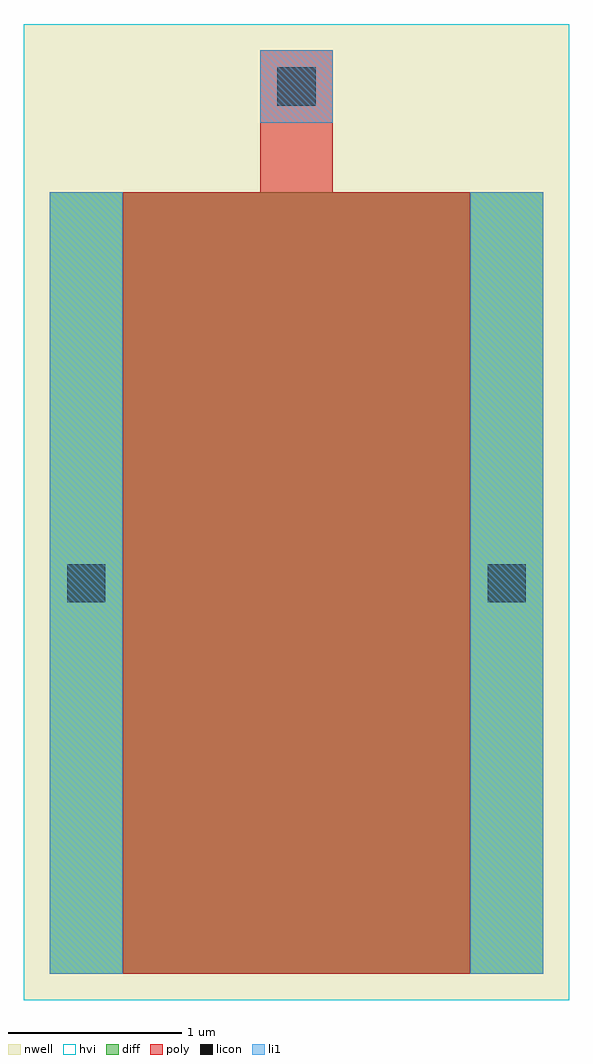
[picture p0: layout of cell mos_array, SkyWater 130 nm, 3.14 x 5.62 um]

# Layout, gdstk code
import gdstk
lib = gdstk.Library(unit=1e-6, precision=1e-09)
def R(c, l, rs):  # rectangles x0, y0, x1, y1
    for r in rs: c.add(gdstk.rectangle(r[:2], r[2:], *l))
nwell = (64, 20)
diff = (65, 20)
poly = (66, 20)
licon = (66, 44)
li1 = (67, 20)
hvi = (75, 20)

mos_array = lib.new_cell('mos_array')
R(mos_array, nwell, [(-0.15,-0.15,2.99,5.47)])
R(mos_array, diff, [(0,0,2.84,4.5)])
R(mos_array, poly, [(0.42,0,2.42,4.5), (1.21,4.5,1.63,5.32)])
R(mos_array, licon, [(0.1,2.14,0.32,2.36), (2.52,2.14,2.74,2.36), (1.31,5,1.53,5.22)])
R(mos_array, li1, [(0,0,0.42,4.5), (2.42,0,2.84,4.5), (1.21,4.9,1.63,5.32)])
R(mos_array, hvi, [(-0.15,-0.15,2.99,5.47)])

lib.write_gds('mos_array.gds')
